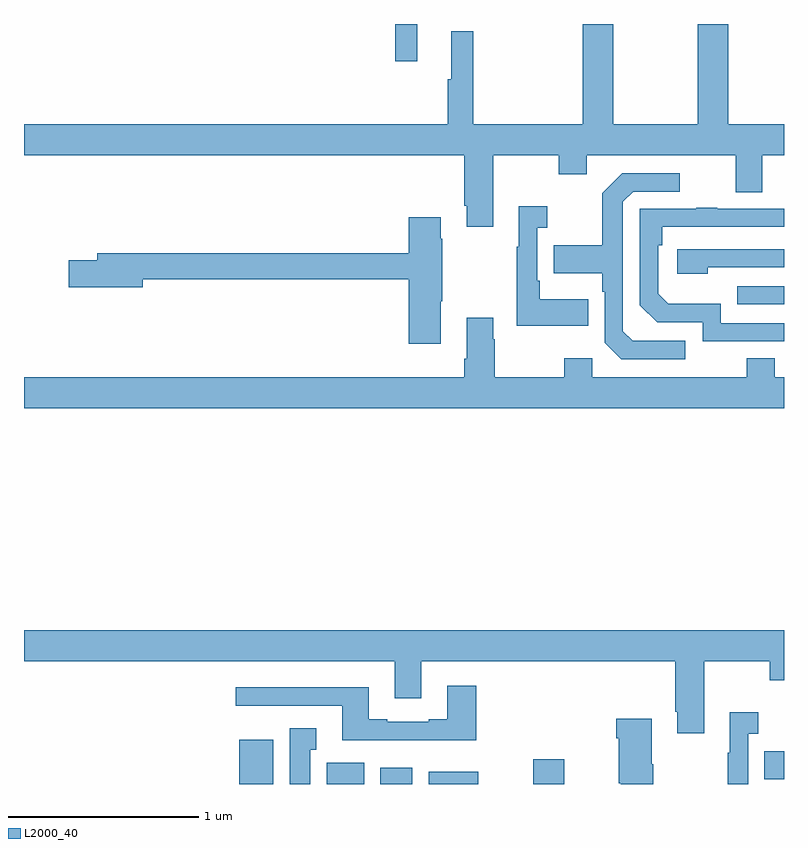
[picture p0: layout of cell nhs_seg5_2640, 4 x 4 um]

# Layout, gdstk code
import gdstk
lib = gdstk.Library(unit=1e-6, precision=1e-09)
def R(c, l, rs):  # rectangles x0, y0, x1, y1
    for r in rs: c.add(gdstk.rectangle(r[:2], r[2:], *l))
def P(c, l, *ps):  # polygons
    for p in ps: c.add(gdstk.Polygon(p, *l))
L2000_40 = (2000, 40)

nhs_seg5_2640 = lib.new_cell('nhs_seg5_2640')
R(nhs_seg5_2640, L2000_40, [(266.132,838.799,266.311,839.032), (266.594,838.799,266.791,838.912), (266.876,838.799,267.043,838.885), (267.131,838.799,267.39,838.864), (267.679,838.799,267.844,838.93), (268.897,838.823,269,838.971), (268.753,841.323,269,841.419), (266.953,842.604,267.071,842.799)])
P(nhs_seg5_2640, L2000_40, [(267.469,842.108),(267.814,842.108),(267.814,842.009),(267.961,842.009),(267.961,842.108),(268.745,842.108),(268.745,841.914),(268.885,841.914),(268.885,842.108),(269,842.108),(269,842.272),(268.706,842.272),(268.706,842.799),(268.546,842.799),(268.546,842.272),(268.101,842.272),(268.101,842.799),(267.941,842.799),(267.941,842.272),(267.365,842.272),(267.365,842.761),(267.248,842.761),(267.248,842.508),(267.229,842.508),(267.229,842.272),(265,842.272),(265,842.108),(267.317,842.108),(267.317,841.843),(267.329,841.843),(267.329,841.731),(267.469,841.731)],
  [(268.48,841.131),(268.203,841.131),(268.152,841.182),(268.152,841.863),(268.206,841.917),(268.45,841.917),(268.45,842.013),(268.149,842.013),(268.044,841.907),(268.044,841.635),(267.787,841.635),(267.787,841.487),(268.044,841.487),(268.044,841.391),(268.056,841.391),(268.056,841.122),(268.143,841.035),(268.48,841.035)],
  [(267.971,841.351),(267.715,841.351),(267.715,841.447),(267.702,841.447),(267.702,841.727),(267.754,841.727),(267.754,841.84),(267.605,841.84),(267.605,841.627),(267.594,841.627),(267.594,841.211),(267.971,841.211)],
  [(269,841.224),(268.668,841.224),(268.668,841.327),(268.391,841.327),(268.338,841.38),(268.338,841.634),(268.358,841.634),(268.358,841.731),(269,841.731),(269,841.827),(268.649,841.827),(268.649,841.832),(268.537,841.832),(268.537,841.827),(268.242,841.827),(268.242,841.32),(268.332,841.23),(268.572,841.23),(268.572,841.128),(269,841.128)],
  [(267.193,841.339),(267.201,841.339),(267.201,841.67),(267.193,841.67),(267.193,841.783),(267.026,841.783),(267.026,841.592),(265.385,841.592),(265.385,841.556),(265.236,841.556),(265.236,841.414),(265.624,841.414),(265.624,841.456),(267.026,841.456),(267.026,841.116),(267.193,841.116)],
  [(268.598,841.518),(269,841.518),(269,841.614),(268.437,841.614),(268.437,841.484),(268.598,841.484)],
  [(269,840.94),(268.951,840.94),(268.951,841.039),(268.804,841.039),(268.804,840.94),(267.99,840.94),(267.99,841.039),(267.844,841.039),(267.844,840.94),(267.477,840.94),(267.477,841.139),(267.469,841.139),(267.469,841.252),(267.329,841.252),(267.329,841.036),(267.317,841.036),(267.317,840.94),(265,840.94),(265,840.776),(269,840.776)],
  [(268.579,839.444),(268.924,839.444),(268.924,839.345),(269,839.345),(269,839.608),(265,839.608),(265,839.444),(266.951,839.444),(266.951,839.25),(267.091,839.25),(267.091,839.444),(268.427,839.444),(268.427,839.179),(268.439,839.179),(268.439,839.067),(268.579,839.067)],
  [(267.38,839.317),(267.227,839.317),(267.227,839.14),(267.131,839.14),(267.131,839.127),(266.911,839.127),(266.911,839.14),(266.815,839.14),(266.815,839.308),(266.115,839.308),(266.115,839.211),(266.675,839.211),(266.675,839.03),(267.38,839.03)],
  [(268.812,839.063),(268.864,839.063),(268.864,839.176),(268.715,839.176),(268.715,838.963),(268.704,838.963),(268.704,838.799),(268.812,838.799)],
  [(268.311,838.903),(268.303,838.903),(268.303,839.143),(268.118,839.143),(268.118,839.039),(268.13,839.039),(268.13,838.803),(268.141,838.803),(268.141,838.799),(268.311,838.799)],
  [(266.506,838.979),(266.539,838.979),(266.539,839.092),(266.399,839.092),(266.399,838.799),(266.506,838.799)])

lib.write_gds('nhs_seg5_2640.gds')
